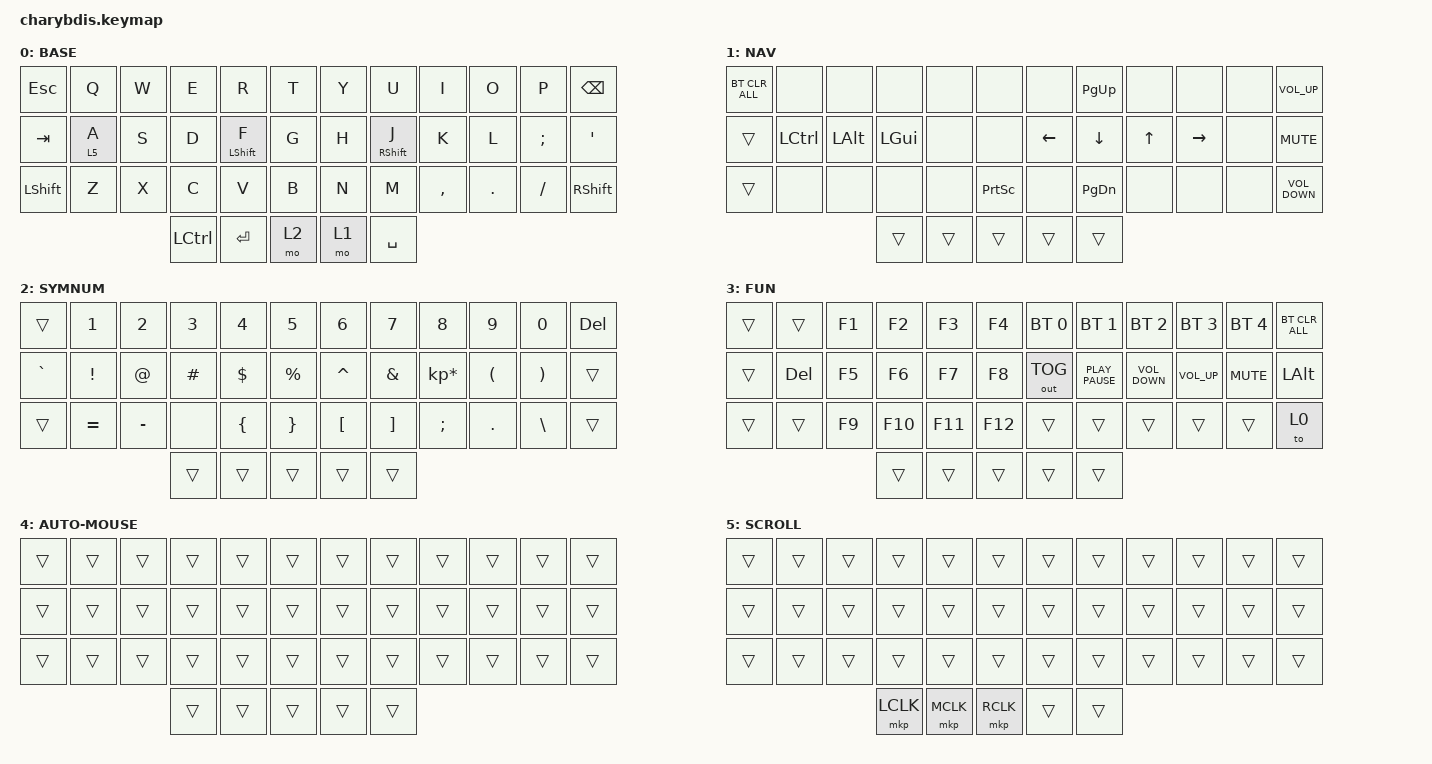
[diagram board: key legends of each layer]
#include <behaviors/mouse_keys.dtsi>
#include <behaviors.dtsi>
#include <dt-bindings/zmk/bt.h>
#include <dt-bindings/zmk/keys.h>
#include <dt-bindings/zmk/mouse.h>
#include <dt-bindings/zmk/outputs.h>

#define U_TAPPING_TERM 200

/ {
    chosen { zmk,matrix_transform = &default_transform; };
};

/ {
    combos {
        compatible = "zmk,combos";

        LeftClickRight {
            bindings = <&mkp LCLK>;
            key-positions = <19 20>;
        };

        RightClickRight {
            bindings = <&mkp RCLK>;
            key-positions = <20 21>;
        };

        MiddleClickRight {
            bindings = <&mkp MCLK>;
            key-positions = <21 22>;
        };

        ParaLeft {
            bindings = <&kp LEFT_PARENTHESIS>;
            key-positions = <4 16>;
        };

        ParaRight {
            bindings = <&kp RIGHT_PARENTHESIS>;
            key-positions = <7 19>;
        };

        BrakLeft {
            bindings = <&kp LEFT_BRACKET>;
            key-positions = <3 15>;
        };

        BrakRight {
            bindings = <&kp RIGHT_BRACKET>;
            key-positions = <8 20>;
        };

        BraceLeft {
            bindings = <&kp LEFT_BRACE>;
            key-positions = <2 14>;
        };

        BraceRight {
            bindings = <&kp RIGHT_BRACE>;
            key-positions = <9 21>;
        };

        Delete {
            bindings = <&kp DELETE>;
            key-positions = <8 9>;
        };

        CapsWord {
            bindings = <&caps_word>;
            key-positions = <17 18>;
        };

    };

    behaviors {
        u_mt: u_mt {
            compatible = "zmk,behavior-hold-tap";
            label = "u_mt";
            #binding-cells = <2>;
            tapping_term_ms = <U_TAPPING_TERM>;
            flavor = "tap-preferred";
            bindings = <&kp>, <&kp>;
        };

        u_lt: u_lt {
            compatible = "zmk,behavior-hold-tap";
            label = "u_lt";
            #binding-cells = <2>;
            tapping_term_ms = <U_TAPPING_TERM>;
            flavor = "tap-preferred";
            bindings = <&mo>, <&kp>;
        };

        Shift_Enter: Shift_Enter {
            compatible = "zmk,behavior-hold-tap";
            label = "SHIFT_ENTER";
            bindings = <&kp>, <&kp>;

            #binding-cells = <2>;
            hold-trigger-key-positions = <40>;
            tapping-term-ms = <100>;
        };
    };

    keymap {
        compatible = "zmk,keymap";

        BASE {
            bindings = <
&kp ESC    &kp Q             &kp W             &kp E          &kp R               &kp T    &kp Y  &kp U                &kp I          &kp O              &kp P                 &kp BSPC
&kp TAB    &lt 5 A           &kp S             &kp D          &u_mt LEFT_SHIFT F  &kp G    &kp H  &u_mt RIGHT_SHIFT J  &kp K          &kp L              &kp SEMI              &kp APOS
&kp LSHIFT &kp Z             &kp X             &kp C          &kp V               &kp B    &kp N  &kp M                &kp COMMA      &kp DOT            &kp FSLH              &kp RSHIFT
                                               &kp LCTRL      &kp RET             &mo 2    &mo 1  &kp SPACE
            >;
        };

        NAV {
            bindings = <
&bt BT_CLR_ALL &none     &none         &none      &none  &none             &none         &kp PAGE_UP           &none          &none      &none    &kp C_VOLUME_UP
&trans         &kp LCTRL &kp LEFT_ALT  &kp LGUI   &none  &none             &kp LEFT      &kp DOWN              &kp UP         &kp RIGHT  &none    &kp C_MUTE
&trans         &none     &none         &none      &none  &kp PRINTSCREEN   &none         &kp PAGE_DOWN         &none          &none      &none    &kp C_VOLUME_DOWN
                                       &trans     &trans &trans            &trans        &trans
            >;
        };

        SYMNUM {
            bindings = <
&trans    &kp N1       &kp N2    &kp N3   &kp N4         &kp N5          &kp N6           &kp N7            &kp N8           &kp N9     &kp N0        &kp DEL
&kp GRAVE &kp EXCL     &kp AT    &kp HASH &kp DLLR       &kp PRCNT       &kp CARET        &kp AMPS          &kp KP_MULTIPLY  &kp LPAR   &kp RPAR      &trans
&trans    &kp EQUAL    &kp MINUS &none    &kp LEFT_BRACE &kp RIGHT_BRACE &kp LEFT_BRACKET &kp RIGHT_BRACKET &kp SEMICOLON    &kp PERIOD &kp BACKSLASH &trans
                                 &trans   &trans         &trans          &trans           &trans
            >;
        };

        FUN {
            bindings = <
&trans  &trans   &kp F1  &kp F2   &kp F3   &kp F4     &bt BT_SEL 0  &bt BT_SEL 1      &bt BT_SEL 2       &bt BT_SEL 3     &bt BT_SEL 4  &bt BT_CLR_ALL
&trans  &kp DEL  &kp F5  &kp F6   &kp F7   &kp F8     &out OUT_TOG  &kp K_PLAY_PAUSE  &kp C_VOLUME_DOWN  &kp C_VOLUME_UP  &kp C_MUTE    &kp LALT
&trans  &trans   &kp F9  &kp F10  &kp F11  &kp F12    &trans        &trans            &trans             &trans           &trans        &to 0
                         &trans   &trans   &trans     &trans        &trans
            >;
        };

        AUTO-MOUSE {
            bindings = <
&trans  &trans  &trans  &trans     &trans    &trans       &trans  &trans     &trans     &trans     &trans  &trans
&trans  &trans  &trans  &trans     &trans    &trans       &trans  &trans     &trans     &trans     &trans  &trans
&trans  &trans  &trans  &trans     &trans    &trans       &trans  &trans     &trans     &trans     &trans  &trans
                        &trans     &trans    &trans       &trans  &trans
            >;
        };

        SCROLL {
            bindings = <
&trans  &trans  &trans  &trans    &trans     &trans       &trans  &trans  &trans  &trans  &trans  &trans
&trans  &trans  &trans  &trans    &trans     &trans       &trans  &trans  &trans  &trans  &trans  &trans
&trans  &trans  &trans  &trans    &trans     &trans       &trans  &trans  &trans  &trans  &trans  &trans
                        &mkp LCLK &mkp MCLK  &mkp RCLK    &trans  &trans
            >;
        };
    };
};
